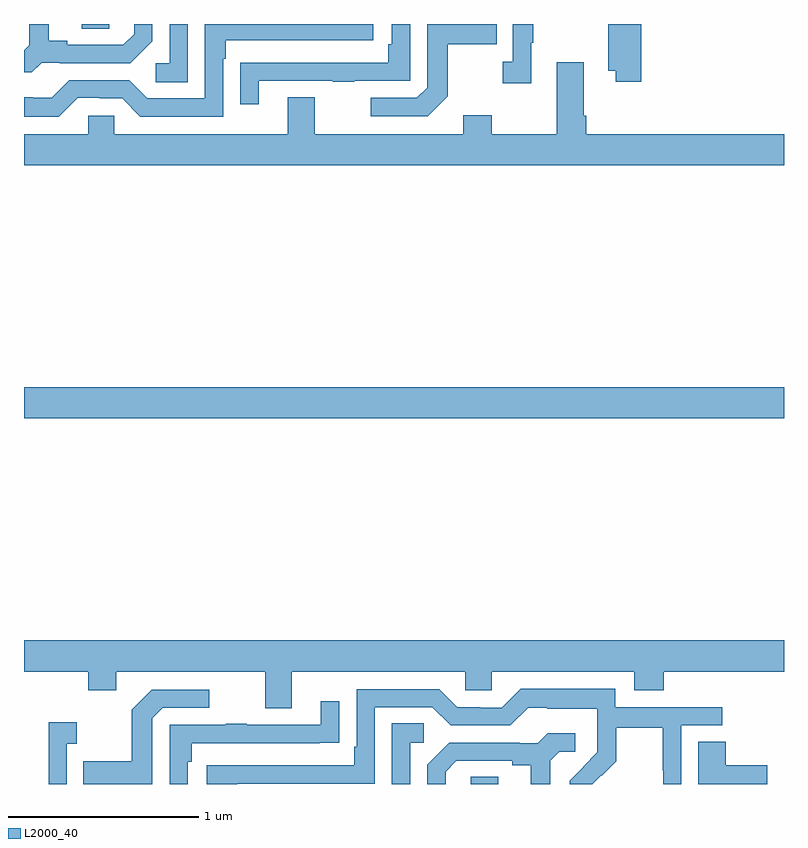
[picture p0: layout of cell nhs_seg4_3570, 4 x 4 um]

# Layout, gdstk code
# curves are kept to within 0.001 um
import gdstk
lib = gdstk.Library(unit=1e-6, precision=1e-09)
def R(c, l, rs):  # rectangles x0, y0, x1, y1
    for r in rs: c.add(gdstk.rectangle(r[:2], r[2:], *l))
def P(c, l, *ps):  # polygons
    for p in ps: c.add(gdstk.Polygon(p, *l))
L2000_40 = (2000, 40)

nhs_seg4_3570 = lib.new_cell('nhs_seg4_3570')
R(nhs_seg4_3570, L2000_40, [(301.35,790.9,301.495,790.937), (299,792.824,303,792.988), (299.303,794.875,299.448,794.9)])
P(nhs_seg4_3570, L2000_40, [(299.094,794.697),(299.188,794.697),(299.188,794.694),(299.56,794.694),(299.676,794.81),(299.676,794.9),(299.579,794.9),(299.579,794.847),(299.522,794.79),(299.227,794.79),(299.227,794.813),(299.131,794.813),(299.131,794.9),(299.027,794.9),(299.027,794.789),(299,794.762),(299,794.645),(299.042,794.645)],
  [(300.235,794.601),(300.625,794.601),(300.625,794.596),(300.737,794.596),(300.737,794.601),(301.032,794.601),(301.032,794.9),(300.936,794.9),(300.936,794.794),(300.916,794.794),(300.916,794.697),(300.241,794.697),(300.241,794.696),(300.139,794.696),(300.139,794.478),(300.235,794.478)],
  [(299.283,794.511),(299.399,794.511),(299.399,794.508),(299.517,794.508),(299.613,794.412),(300.048,794.412),(300.048,794.717),(300.061,794.717),(300.061,794.814),(300.838,794.814),(300.838,794.9),(299.952,794.9),(299.952,794.508),(299.649,794.508),(299.553,794.604),(299.238,794.604),(299.145,794.511),(299.045,794.511),(299.045,794.515),(299,794.515),(299,794.411),(299.183,794.411)],
  [(301.669,794.801),(301.681,794.801),(301.681,794.9),(301.572,794.9),(301.572,794.702),(301.521,794.702),(301.521,794.589),(301.669,794.589)],
  [(301.231,794.521),(301.231,794.794),(301.487,794.794),(301.487,794.9),(301.122,794.9),(301.122,794.565),(301.068,794.511),(300.825,794.511),(300.825,794.415),(301.125,794.415)],
  [(299.862,794.9),(299.766,794.9),(299.766,794.694),(299.694,794.694),(299.694,794.593),(299.862,794.593)],
  [(302.249,794.9),(302.074,794.9),(302.074,794.654),(302.114,794.654),(302.114,794.595),(302.249,794.595)],
  [(303,794.32),(301.958,794.32),(301.958,794.416),(301.945,794.416),(301.945,794.698),(301.805,794.698),(301.805,794.32),(301.461,794.32),(301.461,794.419),(301.313,794.419),(301.313,794.32),(300.529,794.32),(300.529,794.515),(300.389,794.515),(300.389,794.32),(299.475,794.32),(299.475,794.418),(299.337,794.418),(299.337,794.32),(299,794.32),(299,794.156),(303,794.156)],
  [(300.409,791.492),(301.323,791.492),(301.323,791.394),(301.461,791.394),(301.461,791.492),(302.213,791.492),(302.213,791.393),(302.366,791.393),(302.366,791.492),(303,791.492),(303,791.656),(299,791.656),(299,791.492),(299.338,791.492),(299.338,791.393),(299.485,791.393),(299.485,791.492),(300.269,791.492),(300.269,791.298),(300.409,791.298)],
  [(300.122,790.902),(300.846,790.902),(300.846,791.304),(301.149,791.304),(301.245,791.208),(301.56,791.208),(301.653,791.301),(301.753,791.301),(301.753,791.297),(302.016,791.297),(302.016,791.163),(302.018,791.163),(302.018,791.066),(301.872,790.918),(301.872,790.9),(301.99,790.9),(302.037,790.947),(302.04,790.944),(302.117,791.021),(302.117,791.196),(302.362,791.196),(302.362,790.972),(302.364,790.972),(302.364,790.9),(302.46,790.9),(302.46,791.208),(302.674,791.208),(302.674,791.304),(302.112,791.304),(302.112,791.401),(301.615,791.401),(301.515,791.301),(301.4,791.301),(301.4,791.304),(301.281,791.304),(301.185,791.4),(300.75,791.4),(300.75,791.095),(300.737,791.095),(300.737,790.998),(299.961,790.998),(299.961,790.9),(300.122,790.9)],
  [(299.676,791.247),(299.73,791.301),(299.974,791.301),(299.974,791.397),(299.673,791.397),(299.568,791.291),(299.568,791.019),(299.311,791.019),(299.311,790.9),(299.676,790.9)],
  [(299.862,791.018),(299.882,791.018),(299.882,791.115),(300.557,791.115),(300.557,791.116),(300.659,791.116),(300.659,791.335),(300.563,791.335),(300.563,791.211),(300.173,791.211),(300.173,791.216),(300.061,791.216),(300.061,791.211),(299.766,791.211),(299.766,790.9),(299.862,790.9)],
  [(299.226,791.111),(299.278,791.111),(299.278,791.224),(299.129,791.224),(299.129,790.9),(299.226,790.9)],
  [(301.032,791.118),(301.105,791.118),(301.105,791.219),(300.936,791.219),(300.936,790.9),(301.032,790.9)],
  [(301.219,790.965),(301.276,791.022),(301.571,791.022),(301.571,791),(301.667,791),(301.667,790.9),(301.771,790.9),(301.771,791.023),(301.818,791.07),(301.9,791.07),(301.9,791.167),(301.756,791.167),(301.704,791.115),(301.61,791.115),(301.61,791.118),(301.238,791.118),(301.122,791.002),(301.122,790.9),(301.219,790.9)],
  [(302.911,791),(302.693,791),(302.693,791.123),(302.549,791.123),(302.549,790.9),(302.911,790.9)])

lib.write_gds('nhs_seg4_3570.gds')
